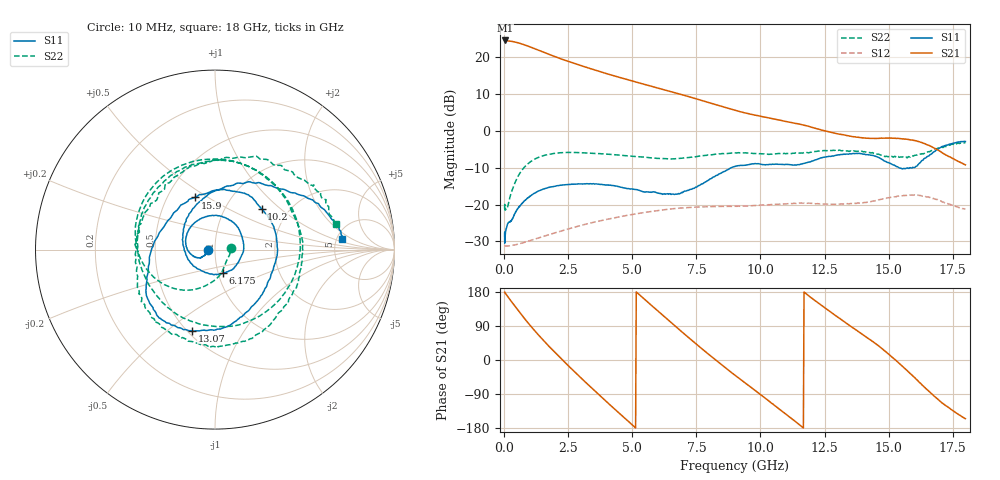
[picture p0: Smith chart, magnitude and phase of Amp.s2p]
!Mini-Circuits Laboratory
!Date: 11/3/2015 at 2:06:02 PM
!S2P DATA File Format
!Type: MMIC Amplifier
!Model: CMA-84+
!S/N: Unit 1
!Fixture: TB-829-84+ NO PORT EXTENSION.
!PIN OUT: PORT 1 - PIN 2, PORT 2 - PIN 7, GROUND - 1,3,4,5,6,8,Bottom Center Paddle
!TEST CONDITIONS: Temp= +85 (Deg C) RF Power= -25.00 (dBm) V limit=5(V) I limit=250(mA) Z=50 OHM
!Run H77400/ Date Code: 1448
!Network Analyzer: PNA-X N5242A S/N 71404 CAL DUE: 12/5/2015
!P.Supply/Multimeter: HP E3632A S/N 63249 CAL DUE: 12/11/2015
!Tested with:
# Hz  S  dB  R  50
!Frequency  S11 dB  S11 Deg  S21 dB  S21 Deg  S12 dB  S12 Deg  S22 dB  S22 Deg
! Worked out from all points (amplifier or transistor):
!   879 points, 10 MHz to 18 GHz, reference 50 ohm
!   highest |S21| = 24.4 dB at 15 MHz (marker M1)
!   |S21| within 3 dB of that: start of sweep to 1.469 GHz
!   unconditionally stable (mu >= 1): start of sweep to end of sweep
!   at 740 MHz: K = 1.20, MAG = 24.1 dB, |S12| = -30.3 dB
!   at 7.025 GHz: K = 1.63, MAG = 10.6 dB, |S12| = -20.9 dB
!   at 18 GHz: K = 4.56, MAG = -3.6 dB, |S12| = -21.2 dB
!   S11 on the Smith chart (normalised r, x): 10 MHz: 0.92, +0.00; 6.175 GHz: 1.06, -0.28; 10.2 GHz: 1.47, +0.75; 13.07 GHz: 0.53, -0.61; 15.9 GHz: 0.68, +0.44; 18 GHz: 5.61, +1.34
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1e7  -27.75 179.3  24.34 179.1  -31.22 1.4  -21.08 4.5
1.5e7  -30.46 -156.8  24.37 179.5  -31.18 1.6  -19.98 -5.4
2.35e8  -24.59 -154.9  24.19 158.0  -31.14 -3.7  -17.59 -73.6
5.05e8  -21.33 -150.4  23.79 133.6  -30.78 -8.5  -12.76 -111.6
9.5e8  -18.06 -163.0  22.78 95.9  -29.88 -19.0  -8.80 -152.0
1.425e9  -16.13 177.1  21.49 59.1  -28.83 -33.3  -7.01 172.6
1.875e9  -15.18 158.3  20.27 26.8  -27.87 -48.7  -6.25 142.4
2.375e9  -14.65 137.2  18.99 -7.2  -26.86 -67.2  -5.93 111.3
3.025e9  -14.45 109.4  17.49 -49.6  -25.60 -93.2  -6.00 71.5
3.675e9  -14.46 78.6  16.08 -90.7  -24.51 -121.0  -6.23 31.7
4.525e9  -15.27 36.3  14.33 -142.7  -23.29 -158.5  -6.64 -18.4
5.2e9  -16.01 -4.1  13.01 176.5  -22.45 170.4  -7.05 -59.0
6.025e9  -16.94 -59.0  11.45 127.6  -21.60 131.7  -7.51 -109.1
6.175e9  -17.25 -70.4  11.16 118.8  -21.49 124.6  -7.57 -118.3
7.575e9  -14.90 172.4  8.40 37.4  -20.68 56.5  -6.94 156.2
9.025e9  -9.65 89.4  5.44 -41.2  -20.50 -10.7  -6.03 84.5
1.02e10  -9.26 41.1  3.60 -101.4  -20.10 -63.5  -6.34 32.2
1.2025e10  -8.21 -61.2  0.85 162.0  -19.70 -149.7  -5.74 -52.7
1.3075e10  -6.56 -105.9  -0.95 110.4  -19.91 164.7  -5.26 -93.1
1.5025e10  -8.76 -174.6  -2.05 14.3  -18.18 77.1  -7.06 -177.1
1.59e10  -10.13 111.1  -2.56 -38.9  -17.47 27.6  -6.78 127.1
1.8e10  -2.96 4.7  -9.27 -154.7  -21.25 -78.5  -3.27 11.9
